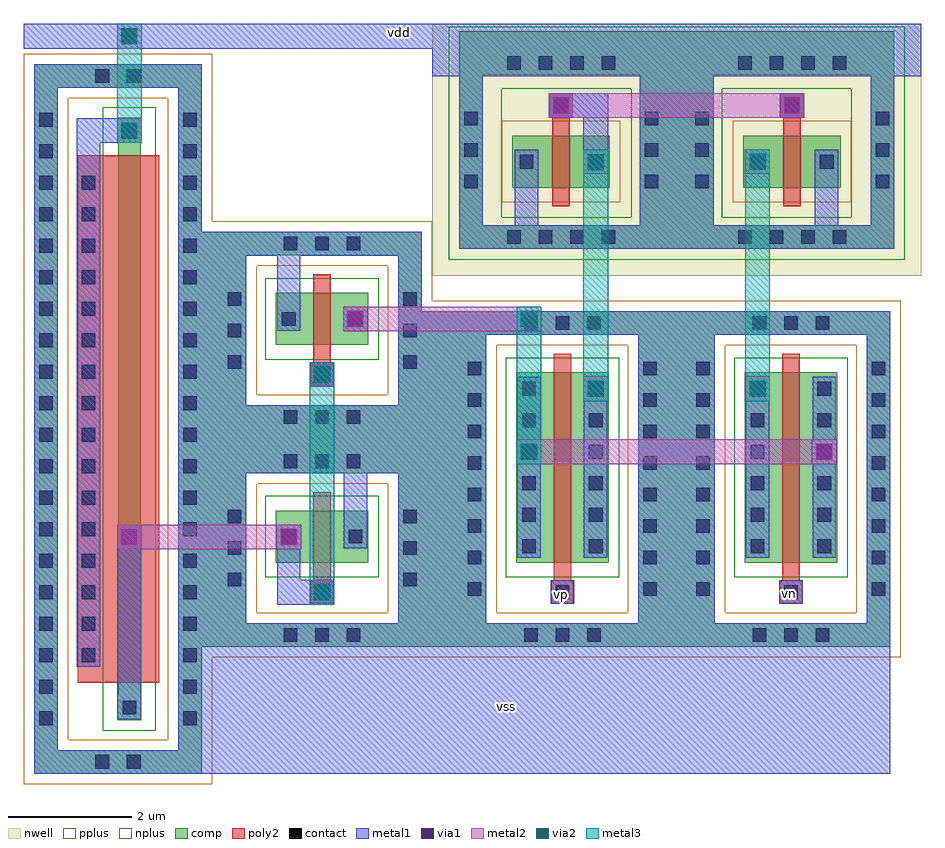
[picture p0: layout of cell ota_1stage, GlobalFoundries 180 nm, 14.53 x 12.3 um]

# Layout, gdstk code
from math import pi, radians
import gdstk
lib = gdstk.Library(unit=1e-6, precision=5e-09)
def R(c, l, rs):  # rectangles x0, y0, x1, y1
    for r in rs: c.add(gdstk.rectangle(r[:2], r[2:], *l))
def A(c, l, x, y, w, h, nx, ny, dx, dy):  # array of equal rectangles
    R(c, l, [(x+i*dx, y+j*dy, x+i*dx+w, y+j*dy+h) for i in range(nx) for j in range(ny)])
def P(c, l, *ps):  # polygons
    for p in ps: c.add(gdstk.Polygon(p, *l))
nwell = (21, 0)
comp = (22, 0)
poly2 = (30, 0)
pplus = (31, 0)
nplus = (32, 0)
contact = (33, 0)
metal1 = (34, 0)
via1 = (35, 0)
metal2 = (36, 0)
via2 = (38, 0)
metal3 = (42, 0)

nfet_3 = lib.new_cell('nfet$3')
R(nfet_3, comp, [(-0.42,-0.01,0,0.37), (8.92,-0.01,9.34,0.37), (0,0,8.92,0.36)])
P(nfet_3, comp, [(-1.28,-0.99),(-1.28,1.34),(-0.9,1.34),(-0.9,-0.61),(9.82,-0.61),(9.82,1.34),(-1.28,1.34),(-1.28,1.72),(10.2,1.72),(10.2,-0.99)])
R(nfet_3, poly2, [(0.19,-0.3,8.73,0.66), (0.19,0.66,8.73,1.02)])
P(nfet_3, pplus, [(-1.45,-1.16),(-1.45,1.17),(-0.73,1.17),(-0.73,-0.44),(9.65,-0.44),(9.65,1.17),(-1.45,1.17),(-1.45,1.89),(10.37,1.89),(10.37,-1.16)])
R(nfet_3, nplus, [(-0.59,-0.25,9.51,0.61)])
A(nfet_3, contact, -0.495, -0.91, 0.22, 0.22, 20, 2, 0.51, 2.33)
A(nfet_3, contact, 0.525, 0.73, 0.22, 0.22, 16, 1, 0.51, 0)
R(nfet_3, contact, [(-1.2,0,-0.98,0.22), (9.9,0,10.12,0.22), (-0.32,0.07,-0.1,0.29), (9.02,0.07,9.24,0.29), (-1.2,0.51,-0.98,0.73), (9.9,0.51,10.12,0.73)])
R(nfet_3, metal1, [(-0.4,-0.01,-0.02,0.37), (8.94,-0.01,9.32,0.37), (0.445,0.65,8.475,1.03)])

pfet_1 = lib.new_cell('pfet$1')
R(pfet_1, nwell, [(-1.76,-1.43,2.42,2.65)])
R(pfet_1, comp, [(-0.46,0,0,0.84), (0,0,0.66,0.84), (0.66,0,1.12,0.84)])
P(pfet_1, comp, [(-1.32,-0.99),(-1.32,1.83),(-0.94,1.83),(-0.94,-0.61),(1.6,-0.61),(1.6,1.83),(-1.32,1.83),(-1.32,2.21),(1.98,2.21),(1.98,-0.99)])
R(pfet_1, poly2, [(0.19,-0.3,0.47,1.14), (0.14,1.14,0.52,1.52)])
R(pfet_1, pplus, [(-0.63,-0.24,1.29,1.08)])
A(pfet_1, contact, -0.545, -0.91, 0.22, 0.22, 4, 2, 0.51, 2.82)
A(pfet_1, contact, -1.24, -0.01, 0.22, 0.22, 1, 3, 0, 0.51)
A(pfet_1, contact, 1.68, -0.01, 0.22, 0.22, 1, 3, 0, 0.51)
R(pfet_1, contact, [(-0.34,0.31,-0.12,0.53), (0.78,0.31,1,0.53), (0.22,1.22,0.44,1.44)])
R(pfet_1, metal1, [(-0.42,0.23,-0.04,0.61), (0.7,0.23,1.08,0.61), (0.14,1.14,0.52,1.52)])

via_dev = lib.new_cell('via_dev')
R(via_dev, metal1, [(0,0,0.4,0.4)])
R(via_dev, via1, [(0.07,0.07,0.33,0.33)])
R(via_dev, metal2, [(0,0,0.4,0.4)])
R(via_dev, via2, [(0.07,0.07,0.33,0.33)])
R(via_dev, metal3, [(0,0,0.4,0.4)])

via_dev_2 = lib.new_cell('via_dev$2')
R(via_dev_2, metal1, [(0,0,0.4,0.4)])
R(via_dev_2, via1, [(0.07,0.07,0.33,0.33)])
R(via_dev_2, metal2, [(0,0,0.4,0.4)])

nfet_1 = lib.new_cell('nfet$1')
R(nfet_1, comp, [(-0.42,0,0,3.08), (0,0,0.66,3.08), (0.66,0,1.08,3.08)])
P(nfet_1, comp, [(-1.28,-1.36),(-1.28,3.69),(-0.9,3.69),(-0.9,-0.98),(1.56,-0.98),(1.56,3.69),(-1.28,3.69),(-1.28,4.07),(1.94,4.07),(1.94,-1.36)])
R(nfet_1, poly2, [(0.15,-0.66,0.51,-0.3), (0.19,-0.3,0.47,3.38)])
P(nfet_1, pplus, [(-1.45,-1.53),(-1.45,3.52),(-0.73,3.52),(-0.73,-0.81),(1.39,-0.81),(1.39,3.52),(-1.45,3.52),(-1.45,4.24),(2.11,4.24),(2.11,-1.53)])
R(nfet_1, nplus, [(-0.59,-0.24,1.25,3.32)])
A(nfet_1, contact, -0.29, -1.28, 0.22, 0.22, 3, 2, 0.51, 5.05)
A(nfet_1, contact, -1.2, -0.54, 0.22, 0.22, 1, 8, 0, 0.51)
A(nfet_1, contact, 1.64, -0.54, 0.22, 0.22, 1, 8, 0, 0.51)
A(nfet_1, contact, -0.32, 0.155, 0.22, 0.22, 1, 6, 0, 0.51)
A(nfet_1, contact, 0.76, 0.155, 0.22, 0.22, 1, 6, 0, 0.51)
R(nfet_1, contact, [(0.22,-0.59,0.44,-0.37)])
R(nfet_1, metal1, [(0.14,-0.67,0.52,-0.29), (-0.4,0.075,-0.02,3.005), (0.68,0.075,1.06,3.005)])

nfet = lib.new_cell('nfet')
R(nfet, comp, [(-0.42,0,0,0.84), (0,0,0.66,0.84), (0.66,0,1.08,0.84)])
P(nfet, comp, [(-1.28,-1.36),(-1.28,1.45),(-0.9,1.45),(-0.9,-0.98),(1.56,-0.98),(1.56,1.45),(-1.28,1.45),(-1.28,1.83),(1.94,1.83),(1.94,-1.36)])
R(nfet, poly2, [(0.15,-0.66,0.51,-0.3), (0.19,-0.3,0.47,1.14)])
P(nfet, pplus, [(-1.45,-1.53),(-1.45,1.28),(-0.73,1.28),(-0.73,-0.81),(1.39,-0.81),(1.39,1.28),(-1.45,1.28),(-1.45,2),(2.11,2),(2.11,-1.53)])
R(nfet, nplus, [(-0.59,-0.24,1.25,1.08)])
A(nfet, contact, -0.29, -1.28, 0.22, 0.22, 3, 2, 0.51, 2.81)
A(nfet, contact, -1.2, -0.385, 0.22, 0.22, 1, 3, 0, 0.51)
A(nfet, contact, 1.64, -0.385, 0.22, 0.22, 1, 3, 0, 0.51)
R(nfet, contact, [(0.22,-0.59,0.44,-0.37), (-0.32,0.31,-0.1,0.53), (0.76,0.31,0.98,0.53)])
R(nfet, metal1, [(0.14,-0.67,0.52,-0.29), (-0.4,0.23,-0.02,0.61), (0.68,0.23,1.06,0.61)])

via_dev_3 = lib.new_cell('via_dev$3')
R(via_dev_3, metal2, [(0,0,0.4,0.4)])
R(via_dev_3, via2, [(0.07,0.07,0.33,0.33)])
R(via_dev_3, metal3, [(0,0,0.4,0.4)])

ota_1stage = lib.new_cell('ota_1stage')
R(ota_1stage, comp, [(-7.75,-3.245,-7.41,3.47), (-4.19,-3.245,-3.52,2.185), (-0.3,-3.245,0.18,2.185), (-7.41,-0.055,-4.19,0.28), (-0.28,3.195,0.16,6.395), (-3.58,6.3,3.46,6.715)])
R(ota_1stage, pplus, [(-4.02,-3.415,-3.69,2.355), (-0.13,-3.415,0.01,2.355)])
P(ota_1stage, nplus, [(-3.75,3.015),(-3.75,5.79),(-2.89,5.79),(-2.89,3.705),(-0.795,3.705),(-0.795,5.79),(0.675,5.79),(0.675,3.705),(2.77,3.705),(2.77,5.79),(-0.795,5.79),(-3.75,5.79),(-3.75,6.79),(3.63,6.79),(3.63,3.015)])
R(ota_1stage, metal1, [(-7.75,-5.3,-7.41,3.47), (-7.41,-5.3,3.4,-3.23), (-9.12,-4.42,-8.73,-1.34), (-4.19,-3.23,-3.52,2.185), (-5.45,-1.47,-5.07,-0.435), (-6.53,2.035,-6.15,3.085), (-2.68,3.575,-2.3,4.52), (2.18,3.575,2.56,4.535), (-1.57,4.65,-1.17,5.715), (-1.815,5.315,-1.24,5.715), (-4.02,5.99,3.9,6.64), (-10.63,6.435,3.9,6.835)])
P(ota_1stage, metal1, [(-7.41,-3.24),(-7.41,-0.43),(-7.03,-0.43),(-7.03,-2.865),(-4.57,-2.865),(-4.57,-0.435),(-7.41,-0.435),(-7.41,3.085),(-7.03,3.085),(-7.03,0.66),(-4.57,0.66),(-4.57,3.085),(-7.41,3.085),(-7.41,3.47),(-4.19,3.47),(-4.19,-3.24)],
  [(-3.52,-3.245),(-3.52,1.805),(-3.14,1.805),(-3.14,-2.865),(-0.68,-2.865),(-0.68,1.805),(0.56,1.805),(0.56,-2.865),(3.02,-2.865),(3.02,1.805),(-3.52,1.805),(-3.52,2.185),(3.4,2.185),(3.4,-3.245)],
  [(-6.53,-2.565),(-6.53,-1.655),(-6.15,-1.655),(-6.15,-2.165),(-5.99,-2.165),(-5.99,-2.565)],
  [(-3.58,3.195),(-3.58,6.015),(-3.2,6.015),(-3.2,3.575),(-0.66,3.575),(-0.66,6.015),(0.54,6.015),(0.54,3.575),(3.08,3.575),(3.08,6.015),(-3.58,6.015),(-3.58,6.395),(3.46,6.395),(3.46,3.195)],
  [(-9.77,4.455),(-9.77,5.31),(-9.12,5.31),(-9.12,4.91),(-9.39,4.91),(-9.39,4.455)],
  [(-10.46,-5.3),(-10.46,6.18),(-7.75,6.18),(-7.75,-5.3),(-10.08,-5.3),(-10.08,-4.92),(-8.13,-4.92),(-8.13,5.8),(-10.08,5.8),(-10.08,-5.3)])
R(ota_1stage, metal2, [(-9.1,-1.67,-6.415,-1.27), (-2.415,-0.29,2.35,0.11), (-5.46,1.86,-2.58,2.26), (-1.73,5.315,1.61,5.715)])
R(ota_1stage, metal3, [(-6,-2.38,-5.6,1.165), (-2.65,-0.07,-2.25,2.105), (-1.57,0.89,-1.17,4.605), (1.05,0.89,1.45,4.58), (-9.12,5.08,-8.72,6.66)])
ota_1stage.add(gdstk.Reference(nfet_3, (-8.74,-4.02), rotation=pi/2))
ota_1stage.add(gdstk.Reference(pfet_1, (-2.26,4.185)))
ota_1stage.add(gdstk.Reference(pfet_1, (1.48,4.185)))
ota_1stage.add(gdstk.Reference(via_dev, (1.05,4.405)))
ota_1stage.add(gdstk.Reference(via_dev, (-1.57,4.4)))
ota_1stage.add(gdstk.Reference(via_dev_2, (-2.13,5.315)))
ota_1stage.add(gdstk.Reference(via_dev_2, (1.61,5.315)))
ota_1stage.add(gdstk.Reference(via_dev, (1.05,0.73)))
ota_1stage.add(gdstk.Reference(via_dev, (-1.57,0.73)))
ota_1stage.add(gdstk.Reference(nfet_1, (-2.24,-1.885)))
ota_1stage.add(gdstk.Reference(nfet_1, (1.46,-1.885)))
ota_1stage.add(gdstk.Reference(via_dev_2, (2.13,-0.29)))
ota_1stage.add(gdstk.Reference(nfet, (-6.13,1.64)))
ota_1stage.add(gdstk.Reference(via_dev, (-2.65,-0.29)))
ota_1stage.add(gdstk.Reference(via_dev_2, (-5.46,1.86)))
ota_1stage.add(gdstk.Reference(via_dev, (-6,0.96)))
ota_1stage.add(gdstk.Reference(nfet, (-6.13,-1.885)))
ota_1stage.add(gdstk.Reference(via_dev, (-8.72,4.91), rotation=pi/2))
ota_1stage.add(gdstk.Reference(via_dev, (-9.12,6.435)))
ota_1stage.add(gdstk.Reference(via_dev_2, (-6.54,-1.67)))
ota_1stage.add(gdstk.Reference(via_dev_3, (-2.65,1.86)))
ota_1stage.add(gdstk.Reference(via_dev, (-6,-2.565)))
ota_1stage.add(gdstk.Reference(via_dev_2, (-8.72,-1.67), rotation=pi/2))
ota_1stage.add(gdstk.Label('vdd', (-4.545,6.695), layer=34, texttype=10))
ota_1stage.add(gdstk.Label('vp', (-1.92,-2.4), layer=34, texttype=10))
ota_1stage.add(gdstk.Label('vn', (1.765,-2.385), layer=34, texttype=10))
ota_1stage.add(gdstk.Label('vss', (-2.815,-4.215), layer=34, texttype=10))

lib.write_gds('ota_1stage.gds')
